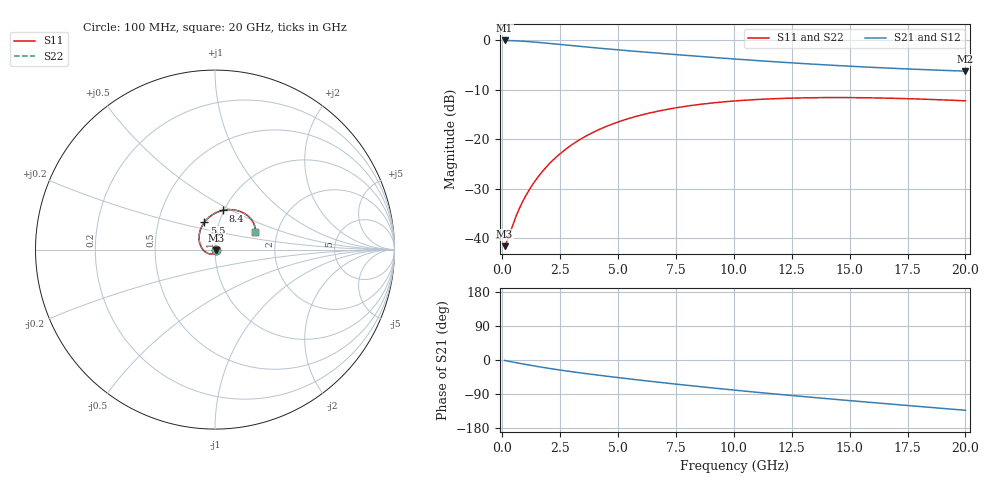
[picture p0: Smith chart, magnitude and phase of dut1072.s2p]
! Touchstone file exported from HFSS 2024.1.0
!  File:  C:/UserFiles/LocalFiles/RDL_TSV_Batchsim/temp_RDL_TSV_1072_1780093421.aedt
!  Generated:  06:38:12 AM May 30, 2026
!  Design:  RDL_TSV
!  Project:  temp_RDL_TSV_1072_1780093421
!  Setup:  Setup1
!  Solution:  Sweep
! Variables:
!  dtsv = 8.53um
!  hbump = 3um
!  htsv = 81.06um
!  ldown = 325.78um
!  lrdl = 173.8um
!  p = 40
!  p1 = 42.76um
!  rhole = 10um
!  subl = 1672.54um
!  t = 450um
!  tdown = 3.44um
!  trdl = 5um
!  viad = 10um
!  wdown = 20.06um
!  wrdl = 29um
!  xbump = 18um
# GHz S MA R 50.000000
! Terminal data exported
! Port[1] = TM1_1_T1
! Port[2] = TM1_4_T1
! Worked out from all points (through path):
!   200 points, 100 MHz to 20 GHz, reference 50 ohm
!   highest |S21| = -0.07 dB at 100 MHz (marker M1); lowest = -6.3 dB at 20 GHz (marker M2)
!   group delay of S21, straight-line fit = 17.5 ps
!   lowest |S11| = -41.6 dB at 100 MHz (marker M3), VSWR 1.02, Z = 50.8 - j0.262 ohm
!   |S11| at or under -10 dB: start of sweep to end of sweep
!   |S22| runs from -41.6 to -11.6 dB; largest |S21 - S12| = 2.6e-14
!   S11 on the Smith chart (normalised r, x): 100 MHz: 1.02, -0.01; 5.5 GHz: 0.85, +0.26; 8.4 GHz: 0.99, +0.45; 20 GHz: 1.53, +0.33
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0.1  0.008321 -18.1  0.9916 -1.2  0.9916 -1.2  0.008322 -18.1
! Gamma 0 0 0 0
! Port Impedance 50 0 50 0
0.2  0.00936 -35.3  0.9905 -2.4  0.9905 -2.4  0.00936 -35.3
0.6  0.0168 -85.7  0.9829 -7.1  0.9829 -7.1  0.0168 -85.7
0.8  0.02146 -102.6  0.9774 -9.4  0.9774 -9.4  0.02146 -102.5
1.1  0.02912 -122.9  0.9671 -12.7  0.9671 -12.7  0.02912 -122.9
1.3  0.03459 -134.4  0.9591 -14.9  0.9591 -14.9  0.03458 -134.3
1.5  0.04031 -144.6  0.9505 -17.0  0.9505 -17.0  0.0403 -144.6
1.9  0.05236 -162.4  0.932 -21.0  0.932 -21.0  0.05233 -162.4
2.4  0.06822 179.1  0.9079 -25.7  0.9079 -25.7  0.06815 179.1
2.9  0.08446 163.7  0.8842 -30.0  0.8842 -30.0  0.08436 163.7
3.5  0.1039 148.3  0.8571 -35.0  0.8571 -35.0  0.1037 148.3
4.4  0.1318 129.6  0.8199 -42.0  0.8199 -42.0  0.1316 129.6
5.5  0.1626 111.7  0.7791 -50.0  0.7791 -50.0  0.1623 111.7
6.8  0.1933 95.1  0.7357 -59.0  0.7357 -59.0  0.193 95.1
8.4  0.2225 78.9  0.6878 -69.5  0.6878 -69.5  0.2221 78.9
10.1  0.2437 65.4  0.6427 -79.9  0.6427 -79.9  0.2433 65.4
11.7  0.2559 55.0  0.6057 -89.2  0.6057 -89.2  0.2555 55.0
13.4  0.2621 45.9  0.5719 -98.7  0.5719 -98.7  0.2616 45.9
15  0.2628 38.8  0.5451 -107.2  0.5451 -107.2  0.2623 38.8
16.7  0.2593 32.6  0.5211 -116.0  0.5211 -116.0  0.2588 32.6
18.3  0.2529 28.0  0.5025 -124.1  0.5025 -124.1  0.2524 27.9
20  0.2439 24.2  0.4861 -132.7  0.4861 -132.7  0.2434 24.1
